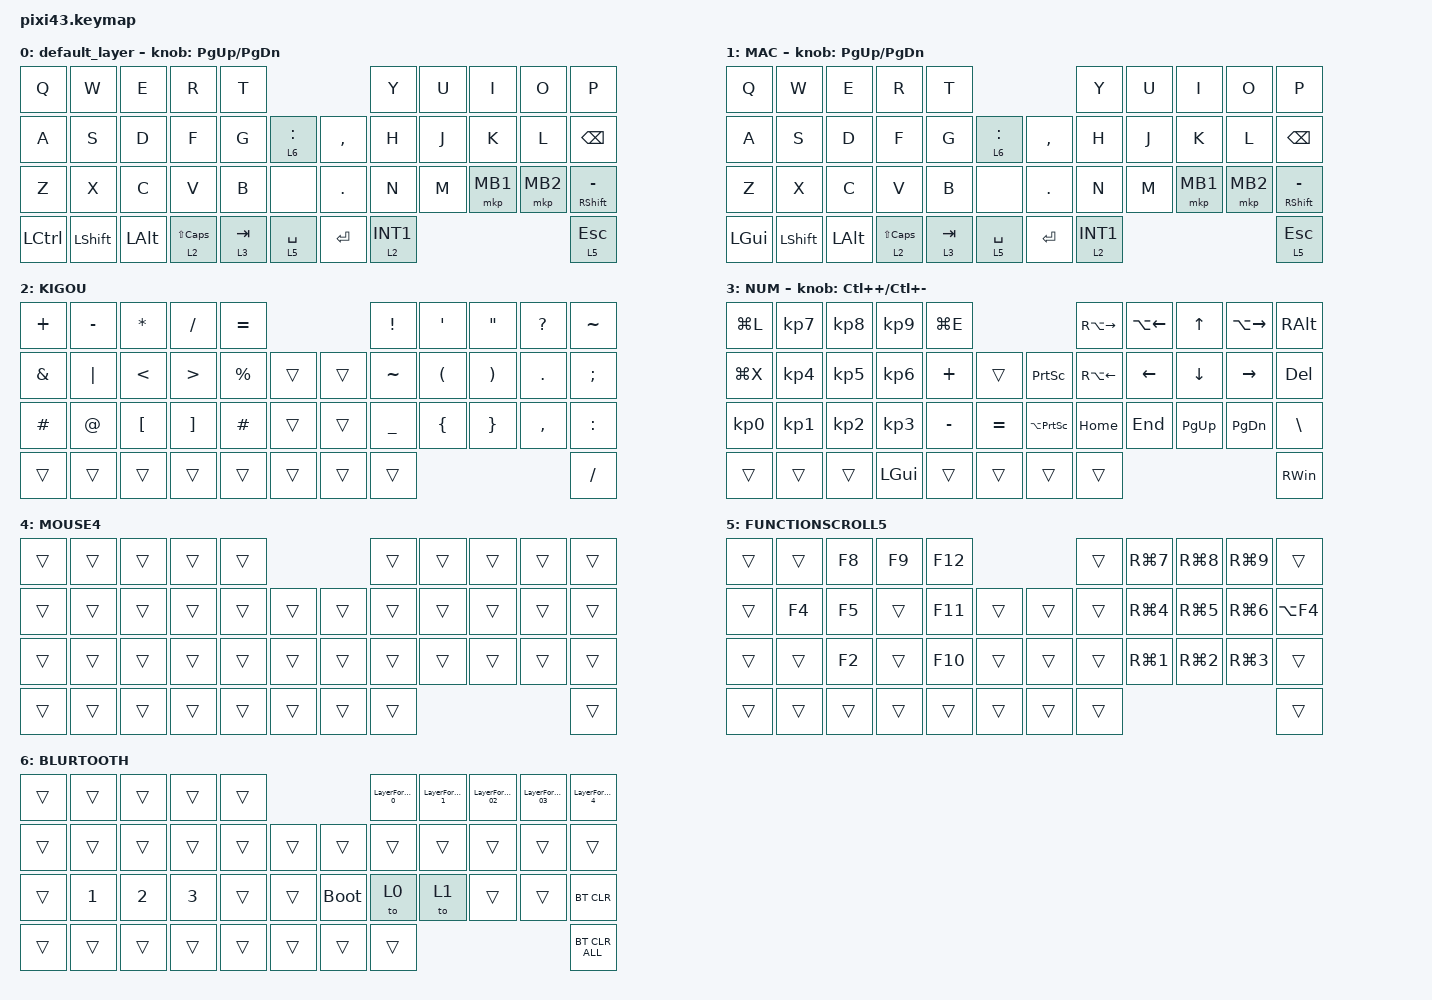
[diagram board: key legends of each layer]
#include <behaviors.dtsi>
#include <dt-bindings/zmk/bt.h>
#include <dt-bindings/zmk/keys.h>
#include <dt-bindings/zmk/pointing.h>

&mt {
    flavor = "balanced";
    quick-tap-ms = <0>;
};

&trackball {
    automouse-layer = <4>;
    scroll-layers = <5>;

    // arrows {
    //     layers = <3>;
    //     bindings =
    //         <&kp RIGHT_ARROW>,
    //         <&kp LEFT_ARROW>,
    //         <&kp UP_ARROW>,
    //         <&kp DOWN_ARROW>;
    //     tick = <10>;
    //     wait-ms = <5>;
    //     tap-ms = <5>;
    // };
};

/ {
    combos {
        compatible = "zmk,combos";

        eq {
            bindings = <&kp EQUAL>;
            key-positions = <24 25>;
        };

        kakko {
            bindings = <&kakko>;
            key-positions = <17 18>;
        };

        neko {
            bindings = <&NEKO>;
            key-positions = <16 28>;
        };
    };

    macros {
        to_layer_0: to_layer_0 {
            compatible = "zmk,behavior-macro-one-param";
            #binding-cells = <1>;
            bindings = <&to 0 &macro_param_1to1 &kp MACRO_PLACEHOLDER>;
            label = "TO_LAYER_0";
        };

        kakko: kakko {
            compatible = "zmk,behavior-macro";
            #binding-cells = <0>;
            bindings = <&kp LPAR &kp RPAR &kp LEFT_ARROW>;
            label = "KAKKO";
        };

        NEKO: NEKO {
            compatible = "zmk,behavior-macro";
            #binding-cells = <0>;
            bindings = <&kp E &kp N4 &kp LS(F) &kp N5 &kp LS(Q) &kp N5 &kp LS(G) &kp N3 &kp LS(F) &kp EXCL>;
            label = "NEKO";
        };

        LayerForMac_0: LAYERFORMAC {
            compatible = "zmk,behavior-macro";
            #binding-cells = <0>;
            bindings = <&to 1 &bt BT_SEL 0>;
            label = "LAYERFORMAC";
        };

        LayerForMac_1: new_macro {
            compatible = "zmk,behavior-macro";
            #binding-cells = <0>;
            bindings = <&to 1 &bt BT_SEL 1>;
            label = "NEW_MACRO";
        };

        LayerForMac_02: LAYERFORMAC2 {
            compatible = "zmk,behavior-macro";
            #binding-cells = <0>;
            bindings = <&to 1 &bt BT_SEL 2>;
            label = "LAYERFORMAC2";
        };

        LayerForMac_03: LAYERFORMAC3 {
            compatible = "zmk,behavior-macro";
            #binding-cells = <0>;
            bindings = <&to 1 &bt BT_SEL 3>;
            label = "LAYERFORMAC3";
        };

        LayerForWin_4: LayerForWin4 {
            compatible = "zmk,behavior-macro";
            #binding-cells = <0>;
            bindings = <&to 0 &bt BT_SEL 4>;
            label = "LAYERFORWIN4";
        };
    };

    behaviors {
        lt_to_layer_0: lt_to_layer_0 {
            compatible = "zmk,behavior-hold-tap";
            label = "LAYER_TAP_TO_0";
            bindings = <&mo>, <&to_layer_0>;

            #binding-cells = <2>;
            tapping-term-ms = <200>;
        };
    };

    keymap {
        compatible = "zmk,keymap";

        default_layer {
            bindings = <
&kp Q      &kp W           &kp E         &kp R           &kp T                                   &kp Y       &kp U  &kp I     &kp O     &kp P
&kp A      &kp S           &kp D         &kp F           &kp G      &lt 6 COLON      &kp COMMA   &kp H       &kp J  &kp K     &kp L     &kp BACKSPACE
&kp Z      &kp X           &kp C         &kp V           &kp B      &none            &kp PERIOD  &kp N       &kp M  &mkp MB1  &mkp MB2  &mt RIGHT_SHIFT MINUS
&kp LCTRL  &kp LEFT_SHIFT  &kp LEFT_ALT  &lt 2 LS(CAPS)  &lt 3 TAB  &lt 5 SPACE      &kp ENTER   &lt 2 INT1                             &lt 5 ESCAPE
            >;

            sensor-bindings = <&inc_dec_kp PAGE_UP PAGE_DOWN>;
        };

        MAC {
            bindings = <
&kp Q         &kp W           &kp E         &kp R               &kp T                                   &kp Y       &kp U  &kp I     &kp O     &kp P
&kp A         &kp S           &kp D         &kp F               &kp G      &lt 6 COLON      &kp COMMA   &kp H       &kp J  &kp K     &kp L     &kp BACKSPACE
&kp Z         &kp X           &kp C         &kp V               &kp B      &none            &kp PERIOD  &kp N       &kp M  &mkp MB1  &mkp MB2  &mt RIGHT_SHIFT MINUS
&kp LEFT_GUI  &kp LEFT_SHIFT  &kp LEFT_ALT  &lt 2 LS(CAPSLOCK)  &lt 3 TAB  &lt 5 SPACE      &kp ENTER   &lt 2 INT1                             &lt 5 ESCAPE
            >;

            sensor-bindings = <&inc_dec_kp PAGE_UP PAGE_DOWN>;
        };

        KIGOU {
            bindings = <
&kp PLUS       &kp MINUS    &kp ASTERISK      &kp SLASH          &kp EQUAL                        &kp EXCLAMATION  &kp SINGLE_QUOTE      &kp DOUBLE_QUOTES      &kp QUESTION  &kp TILDE
&kp AMPERSAND  &kp PIPE     &kp LESS_THAN     &kp GREATER_THAN   &kp PERCENT  &trans      &trans  &kp TILDE        &kp LEFT_PARENTHESIS  &kp RIGHT_PARENTHESIS  &kp DOT       &kp SEMICOLON
&kp HASH       &kp AT_SIGN  &kp LEFT_BRACKET  &kp RIGHT_BRACKET  &kp POUND    &trans      &trans  &kp UNDERSCORE   &kp LEFT_BRACE        &kp RIGHT_BRACE        &kp COMMA     &kp COLON
&trans         &trans       &trans            &trans             &trans       &trans      &trans  &trans                                                                      &kp SLASH
            >;
        };

        NUM {
            bindings = <
&kp LG(L)        &kp KP_NUMBER_7  &kp KP_NUMBER_8  &kp KP_NUMBER_9  &kp LG(E)                                      &kp RA(RIGHT_ARROW)  &kp LA(LEFT_ARROW)  &kp UP_ARROW    &kp LA(RIGHT_ARROW)  &kp RIGHT_ALT
&kp LG(X)        &kp KP_NUMBER_4  &kp KP_NUMBER_5  &kp KP_NUMBER_6  &kp PLUS   &trans         &kp PRINTSCREEN      &kp RA(LEFT_ARROW)   &kp LEFT_ARROW      &kp DOWN_ARROW  &kp RIGHT_ARROW      &kp DEL
&kp KP_NUMBER_0  &kp KP_NUMBER_1  &kp KP_NUMBER_2  &kp KP_NUMBER_3  &kp MINUS  &kp EQUAL      &kp LA(PRINTSCREEN)  &kp HOME             &kp END             &kp PAGE_UP     &kp PAGE_DOWN        &kp BACKSLASH
&trans           &trans           &trans           &kp LEFT_GUI     &trans     &trans         &trans               &trans                                                                        &kp RIGHT_WIN
            >;

            sensor-bindings = <&inc_dec_kp LC(PLUS) LC(MINUS)>;
        };

        MOUSE4 {
            bindings = <
&trans  &trans  &trans  &trans  &trans                      &trans  &trans  &trans  &trans  &trans
&trans  &trans  &trans  &trans  &trans  &trans      &trans  &trans  &trans  &trans  &trans  &trans
&trans  &trans  &trans  &trans  &trans  &trans      &trans  &trans  &trans  &trans  &trans  &trans
&trans  &trans  &trans  &trans  &trans  &trans      &trans  &trans                          &trans
            >;
        };

        FUNCTIONSCROLL5 {
            bindings = <
&trans  &trans  &kp F8  &kp F9  &kp F12                      &trans  &kp RG(N7)        &kp RG(N8)        &kp RG(N9)        &trans
&trans  &kp F4  &kp F5  &trans  &kp F11  &trans      &trans  &trans  &kp RG(NUMBER_4)  &kp RG(N5)        &kp RG(NUMBER_6)  &kp LA(F4)
&trans  &trans  &kp F2  &trans  &kp F10  &trans      &trans  &trans  &kp RG(NUMBER_1)  &kp RG(NUMBER_2)  &kp RG(NUMBER_3)  &trans
&trans  &trans  &trans  &trans  &trans   &trans      &trans  &trans                                                        &trans
            >;
        };

        BLURTOOTH {
            bindings = <
&trans  &trans        &trans        &trans        &trans                           &LayerForMac_0  &LayerForMac_1  &LayerForMac_02  &LayerForMac_03  &LayerForWin_4
&trans  &trans        &trans        &trans        &trans  &trans      &trans       &trans          &trans          &trans           &trans           &trans
&trans  &kp NUMBER_1  &kp NUMBER_2  &kp NUMBER_3  &trans  &trans      &bootloader  &to 0           &to 1           &trans           &trans           &bt BT_CLR
&trans  &trans        &trans        &trans        &trans  &trans      &trans       &trans                                                            &bt BT_CLR_ALL
            >;
        };
    };
};
